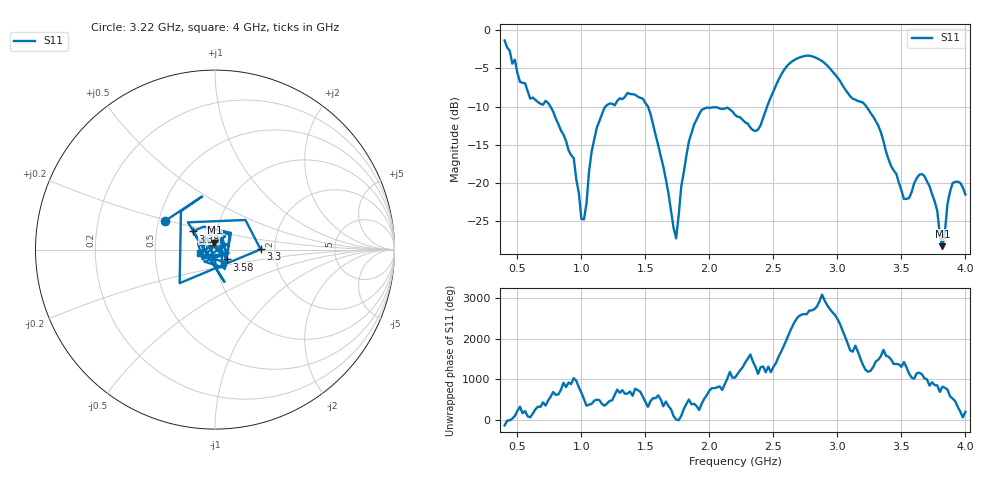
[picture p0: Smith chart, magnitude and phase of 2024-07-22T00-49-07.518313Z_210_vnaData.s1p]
!Created with skrf (http://scikit-rf.org).
# Hz S RI R 50.0
!freq ReS11 ImS11
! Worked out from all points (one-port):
!   181 points, 400 MHz to 4 GHz, reference 50 ohm
!   lowest |S11| = -28.3 dB at 3.82 GHz (marker M1), VSWR 1.08, Z = 49.5 + j3.81 ohm
!   |S11| at or under -10 dB: 757.9 MHz to 1.189 GHz (430.9 MHz wide, 44.3 % of centre); 1.52 GHz to 2.451 GHz (931.1 MHz wide, 46.9 % of centre); 3.226 GHz to end of sweep
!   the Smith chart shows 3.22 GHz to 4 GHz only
!   S11 on the Smith chart (normalised r, x): 3.22 GHz: 0.54, +0.19; 3.3 GHz: 1.68, +0.00; 3.38 GHz: 0.76, +0.16; 3.58 GHz: 1.14, -0.13; 4 GHz: 0.85, -0.03
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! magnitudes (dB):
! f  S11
! 400 MHz  -1.3
! 600 MHz  -9.0
! 740 MHz  -9.5
! 860 MHz  -13.7
! 940 MHz  -16.7
! 1.02 GHz  -24.8
! 1.12 GHz  -12.8
! 1.3 GHz  -8.9
! 1.52 GHz  -10.0
! 1.74 GHz  -27.3
! 1.76 GHz  -24.2
! 1.84 GHz  -14.6
! 1.92 GHz  -11.0
! 2.2 GHz  -11.1
! 2.38 GHz  -13.0
! 2.66 GHz  -3.9
! 2.88 GHz  -4.0
! 3.1 GHz  -8.7
! 3.22 GHz  -9.8
! 3.3 GHz  -11.9
! 3.38 GHz  -15.9
! 3.56 GHz  -22.0
! 3.58 GHz  -21.2
! 3.68 GHz  -19.1
! 3.78 GHz  -23.6
! 3.82 GHz  -28.3
! 3.9 GHz  -20.0
! 4 GHz  -21.5
